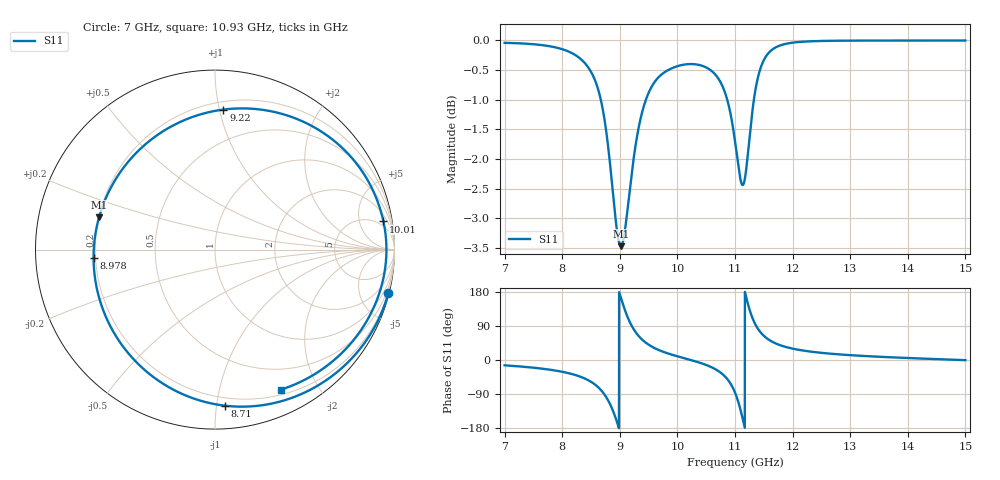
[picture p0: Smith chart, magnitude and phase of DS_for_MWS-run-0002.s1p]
! TOUCHSTONE file generated by CST DESIGN STUDIO
! Date and time: Mon Feb 10 16:50:45 2025
! Project name: C:\Work\MatlabApps\UnitCellType2OptimizationMatlab\CST\unitcell.cst
! Tree item: Tasks\Sweep1\SPara1\S-Parameters
! Header version: 2024
! Port assignment regex: !\s*Touchstone port\s*([0-9]+)\s*=\s*(CST MWS port|CST DES external port|CST DES block port)\s*(.+)\s* \(\"(.*)\"\)(\s*mode\s*([0-9]+))?.*
! Touchstone port assignment:
! Touchstone port 1 = CST DES external port 1 ("")
# GHz S MA R 50
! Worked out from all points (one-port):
!   4001 points, 7 GHz to 15 GHz, reference 50 ohm
!   lowest |S11| = -3.5 dB at 9.018 GHz (marker M1), VSWR 5.07, Z = 10 + j6.54 ohm
!   |S11| at or under -10 dB: nowhere
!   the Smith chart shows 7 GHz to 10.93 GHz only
!   S11 on the Smith chart (normalised r, x): 7 GHz: 0.15, -8.12; 8.71 GHz: 0.15, -1.06; 8.978 GHz: 0.19, -0.03; 9.22 GHz: 0.26, +1.03; 10.01 GHz: 3, +11; 10.93 GHz: 0.25, -1.55
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7  0.9954 -14.0
8  0.9832 -31.1
8.436  0.9514 -52.0
8.71  0.8717 -86.2
8.844  0.7754 -120.8
8.978  0.6781 -176.2
9  0.6722 173.2
9.018  0.6707 164.5
9.118  0.7092 119.8
9.22  0.7816 86.5
9.356  0.8572 58.6
9.512  0.9059 39.3
10  0.9513 9.7
10.006  0.9515 9.5
10.642  0.9378 -22.9
10.81  0.9083 -41.0
10.932  0.8625 -64.7
11  0.8224 -85.9
11.084  0.7686 -125.0
11.172  0.7649 179.8
11.26  0.8357 129.4
11.344  0.9021 96.8
11.454  0.9509 71.2
11.584  0.976 53.8
12  0.9957 30.0
13  0.9997 12.8
14  0.9999 5.2
15  0.9999 -0.4
